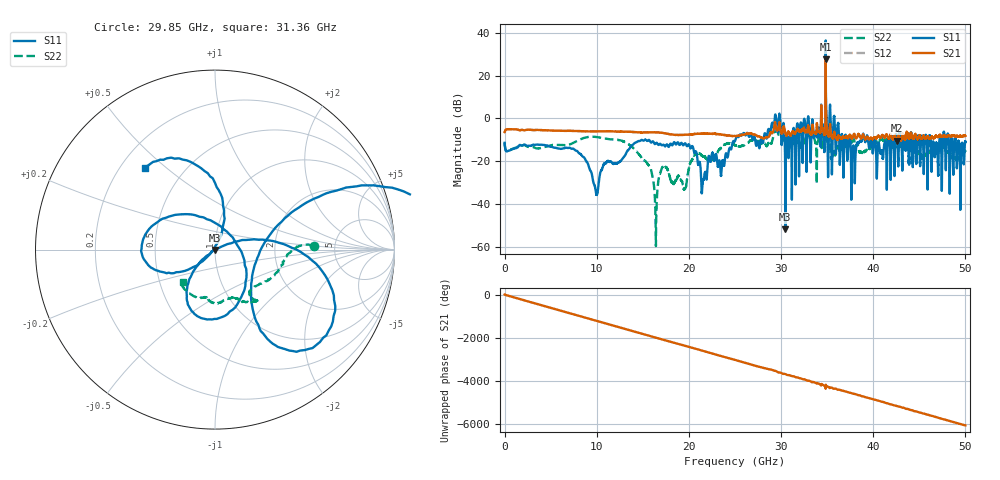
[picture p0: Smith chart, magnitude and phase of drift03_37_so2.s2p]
!Created with skrf (http://scikit-rf.org).
# Hz S RI R 50.0
!freq ReS11 ImS11 ReS21 ImS21 ReS12 ImS12 ReS22 ImS22
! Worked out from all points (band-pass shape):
!   10001 points, 300 kHz to 50 GHz, reference 50 ohm
!   highest |S21| = 27.66 dB at 34.85 GHz (marker M1); lowest = -10.4 dB at 42.55 GHz (marker M2)
!   |S21| within 3 dB of the highest: 34.84379 GHz to 34.84598 GHz (2.186 MHz wide, 0.00627 % of centre)
!   lowest |S11| = -51.9 dB at 30.47 GHz (marker M3), VSWR 1.01, Z = 49.8 - j0.155 ohm
!   |S11| at or under -10 dB: start of sweep to 15.23 GHz; 15.31 GHz to 25.05 GHz (9.739 GHz wide, 48.3 % of centre); 40.22 GHz to 41.62 GHz (1.402 GHz wide, 3.43 % of centre) (the widest 3 of 52)
!   |S22| runs from -59.8 to 18.7 dB; largest |S21 - S12| = 3.5
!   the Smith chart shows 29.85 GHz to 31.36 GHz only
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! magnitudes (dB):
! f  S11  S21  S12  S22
! 300 kHz  -11.4  -6.5  -6.5  -11.4
! 8.335 GHz  -17.1  -6.0  -6.0  -9.6
! 9.955 GHz  -35.6  -6.1  -6.1  -8.7
! 11 GHz  -20.9  -6.0  -6.0  -9.5
! 13.92 GHz  -12.3  -6.3  -6.3  -13.7
! 16.36 GHz  -11.9  -6.5  -6.5  -43.2
! 16.67 GHz  -12.4  -6.6  -6.5  -29.7
! 17.33 GHz  -12.7  -6.9  -6.9  -22.9
! 19.55 GHz  -11.7  -7.7  -7.7  -32.9
! 20.22 GHz  -13.9  -7.5  -7.4  -20.3
! 21.55 GHz  -28.7  -7.2  -7.2  -17.8
! 25 GHz  -10.6  -8.2  -8.2  -12.6
! 29.6 GHz  -5.5  -5.7  -5.9  -7.8
! 30.47 GHz  -51.9  -7.2  -7.2  -9.1
! 33.34 GHz  -3.8  -6.9  -6.8  -9.3
! 34.85 GHz  36.5  27.7  27.4  18.7
! 35.63 GHz  -6.6  -9.2  -9.1  -16.0
! 37.82 GHz  -12.8  -8.4  -8.3  -10.0
! 38.81 GHz  -9.0  -8.3  -8.3  -16.2
! 41.67 GHz  -9.6  -9.4  -9.3  -11.3
! 42.55 GHz  -8.2  -10.4  -10.4  -13.2
! 50 GHz  -10.8  -8.2  -8.2  -15.5
